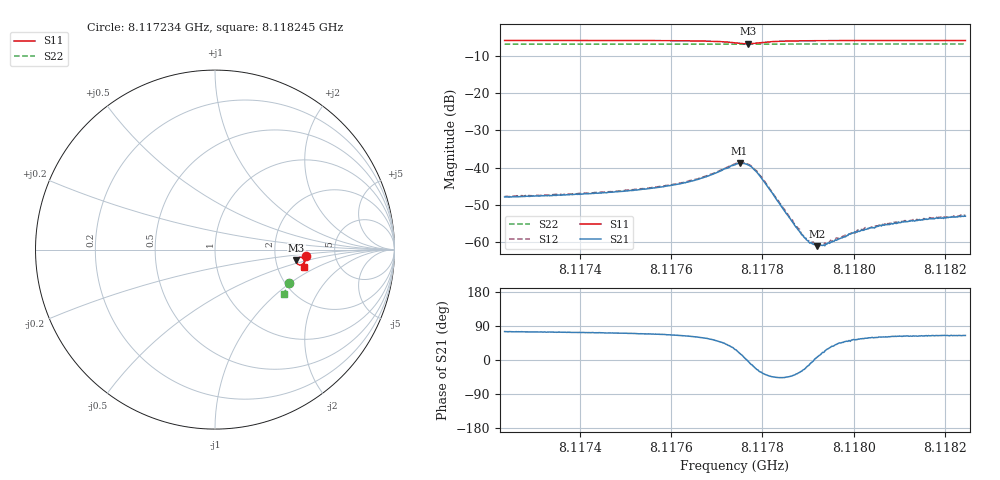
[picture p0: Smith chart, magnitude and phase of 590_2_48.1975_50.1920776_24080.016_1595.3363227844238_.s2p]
#  HZ  S  RI  R  50.00
! Rohde & Schwarz Vector Network Analyzer
! Rohde-Schwarz,ZNB20-2Port,1311601062101988,3.16
! Created: UTC 3/20/2024, 12:02:34 PM
! freq[Hz]  re:S11  im:S11  re:S21  im:S21  re:S12  im:S12  re:S22  im:S22
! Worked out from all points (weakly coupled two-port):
!   401 points, 8.117234 GHz to 8.118245 GHz, reference 50 ohm
!   highest |S21| = -38.78 dB at 8.11775 GHz (marker M1); lowest = -61.0 dB at 8.117919 GHz (marker M2)
!   lowest |S11| = -6.8 dB at 8.117768 GHz (marker M3), VSWR 2.69, Z = 131 - j19.8 ohm
!   |S11| at or under -10 dB: nowhere
!   |S22| runs from -6.9 to -6.8 dB; largest |S21 - S12| = 0.00051
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8.1172342e9  0.5055 -0.0334  0.00104 0.00392  0.00112 0.00396  0.413 -0.1838
8.1174036e9  0.504 -0.0479  0.00132 0.00422  0.00136 0.00432  0.4085 -0.1949
8.117492e9  0.5024 -0.056  0.0016 0.00455  0.00165 0.00464  0.406 -0.2006
8.1175729e9  0.5 -0.0647  0.00207 0.00505  0.00216 0.00516  0.4035 -0.206
8.1176588e9  0.4938 -0.0769  0.00347 0.00606  0.00351 0.00615  0.4006 -0.2115
8.1177397e9  0.4636 -0.0829  0.00967 0.00507  0.0101 0.00521  0.397 -0.2162
8.1177498e9  0.4573 -0.0772  0.011 0.00355  0.011 0.00355  0.3964 -0.2165
8.1177675e9  0.4534 -0.0599  0.011 -0.000395  0.0112 -0.000403  0.3959 -0.2168
8.1177802e9  0.4596 -0.0488  0.00922 -0.00277  0.00946 -0.00296  0.3959 -0.2169
8.1177979e9  0.4732 -0.0427  0.0061 -0.00387  0.00632 -0.00416  0.3961 -0.2179
8.1178737e9  0.4967 -0.0583  0.00128 -0.000963  0.00129 -0.000968  0.3947 -0.2234
8.1178914e9  0.4979 -0.0618  0.00106 -0.000492  0.00108 -0.000514  0.3943 -0.2248
8.1179015e9  0.4983 -0.0636  0.000979 -0.00025  0.001 -0.00031  0.3938 -0.2253
8.1179091e9  0.4986 -0.0649  0.000954 -8.87e-05  0.000996 -0.000132  0.3935 -0.226
8.1179192e9  0.4989 -0.0666  0.000888 0.000109  0.000945 9.44e-05  0.3933 -0.2265
8.1179293e9  0.499 -0.068  0.000875 0.000263  0.000889 0.000241  0.3928 -0.2273
8.1179369e9  0.4991 -0.069  0.000823 0.000362  0.000896 0.000415  0.3926 -0.2277
8.1179975e9  0.4992 -0.0765  0.000798 0.00107  0.000801 0.0011  0.3906 -0.2316
8.1180127e9  0.4991 -0.0781  0.000801 0.00115  0.000834 0.00119  0.3903 -0.2326
8.1180784e9  0.4984 -0.0847  0.000831 0.00152  0.000864 0.00159  0.388 -0.2366
8.1181669e9  0.4972 -0.0925  0.00092 0.00186  0.000936 0.00193  0.3848 -0.2422
8.1182453e9  0.4961 -0.099  0.000956 0.00202  0.000968 0.00207  0.3821 -0.2469
